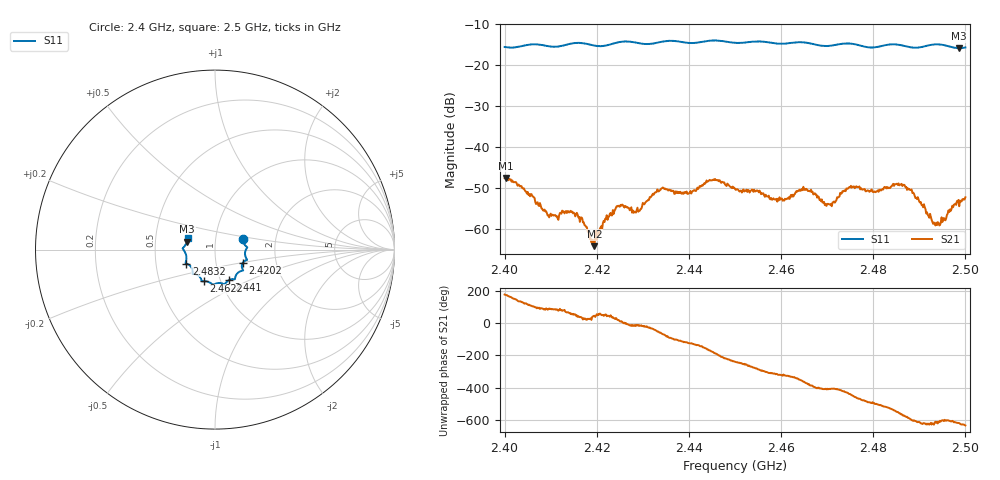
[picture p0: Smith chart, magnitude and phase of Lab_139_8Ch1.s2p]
# Hz S RI R 50
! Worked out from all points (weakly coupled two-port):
!   601 points, 2.4 GHz to 2.5 GHz, reference 50 ohm
!   highest |S21| = -47.50 dB at 2.4003 GHz (marker M1); lowest = -64.2 dB at 2.4195 GHz (marker M2)
!   lowest |S11| = -15.8 dB at 2.4987 GHz (marker M3), VSWR 1.39, Z = 36.4 + j3.32 ohm
!   |S11| at or under -10 dB: start of sweep to end of sweep
!   S12 and S22 are empty: the file has one direction only
!   S11 on the Smith chart (normalised r, x): 2.4 GHz: 1.36, +0.17; 2.4202 GHz: 1.35, -0.20; 2.441 GHz: 1.09, -0.39; 2.4622 GHz: 0.83, -0.30; 2.4832 GHz: 0.72, -0.12; 2.5 GHz: 0.73, +0.09
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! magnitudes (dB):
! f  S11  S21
! 2.4 GHz  -15.5  -47.5
! 2.4003 GHz  -15.6  -47.5
! 2.4097 GHz  -15.4  -57.1
! 2.4167 GHz  -14.6  -57.1
! 2.4195 GHz  -15.2  -64.2
! 2.4202 GHz  -15.3  -62.0
! 2.4247 GHz  -14.4  -54.3
! 2.4288 GHz  -14.5  -54.7
! 2.4333 GHz  -14.4  -50.8
! 2.441 GHz  -14.6  -50.6
! 2.4452 GHz  -13.9  -48.0
! 2.45 GHz  -14.5  -50.2
! 2.4622 GHz  -14.5  -51.6
! 2.4667 GHz  -14.7  -50.9
! 2.4705 GHz  -15.3  -54.0
! 2.4752 GHz  -14.7  -49.4
! 2.4832 GHz  -15.0  -50.0
! 2.4833 GHz  -15.0  -49.9
! 2.488 GHz  -15.6  -50.4
! 2.4933 GHz  -14.9  -58.7
! 2.4987 GHz  -15.8  -54.4
! 2.5 GHz  -15.6  -52.2
